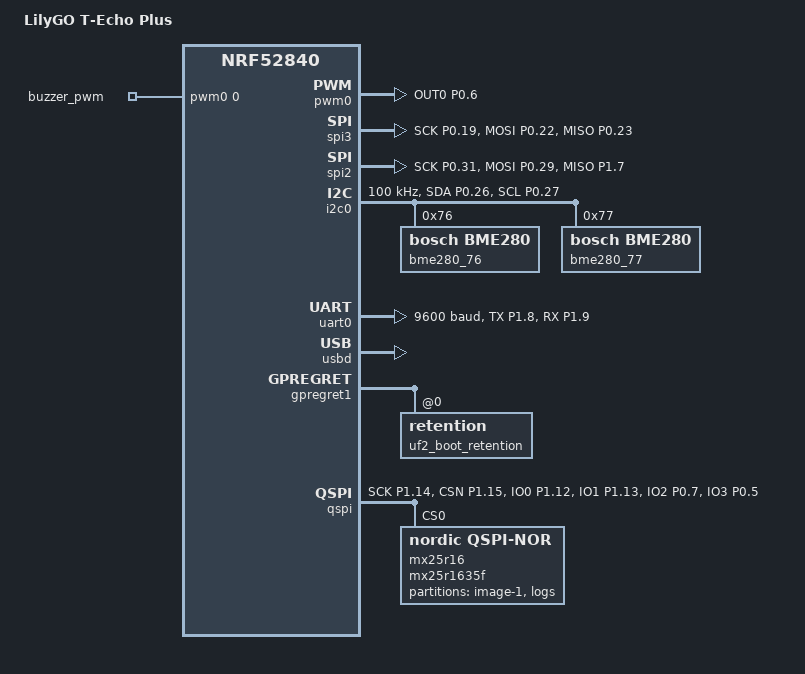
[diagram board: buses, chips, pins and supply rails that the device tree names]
/dts-v1/;
#include <nordic/nrf52840_qiaa.dtsi>
#include <zephyr/dt-bindings/gpio/gpio.h>
#include <zephyr/dt-bindings/i2c/i2c.h>

/*
 * LilyGO T-Echo (Plus) — nRF52840 + SX1262 + SSD1681 1.54" e-paper + L76K GPS.
 *
 * Pins are taken from the Meshtastic `t-echo-plus` variant (the Plus-specific
 * reference), cross-checked against published T-Echo pin maps and
 * devices/boards/techo/pins.h. Radio SPI (SCK P0.19 / MOSI P0.22 / MISO P0.23),
 * e-paper, GNSS UART, and the Plus buzzer (P0.06) / vibro-DRV_EN (P0.08) are all
 * confirmed. NOTE: the SX1262 TCXO is on DIO3 @ 1.8 V and DIO2 is the RF switch
 * — configured by the driver (sx1262.cpp begin()), not here.
 *
 * Peripheral-instance choice avoids nRF52840 EasyDMA base conflicts:
 *   radio  -> SPIM3 (0x4002F000, dedicated, high-speed)
 *   e-paper-> SPIM2 (0x40023000)
 *   flash  -> QSPI  (0x40029000, its own peripheral — no SPIM conflict)
 *   GNSS   -> UARTE0
 *   console-> USB CDC ACM (T-Echo has no dedicated debug UART; it uses USB)
 *
 * Power gating lives in board.c, NOT in the application, because MCUboot needs
 * the same rails up before it can read the secondary slot. See board.c.
 */

/ {
	model = "LilyGO T-Echo Plus";
	compatible = "lilygo,t-echo-plus";

	chosen {
		zephyr,sram = &sram0;
		zephyr,flash = &flash0;
		zephyr,code-partition = &slot0_partition;
		zephyr,console = &cdc_acm_uart0;
		zephyr,shell-uart = &cdc_acm_uart0;
	};

	aliases {
		radio-spi = &spi3;
		epd-spi = &spi2;
		gnss-uart = &uart0;
		buzzer = &buzzer_pwm;
		watchdog0 = &wdt0;
	};

	pwmleds {
		compatible = "pwm-leds";
		buzzer_pwm: buzzer_pwm {
			pwms = <&pwm0 0 PWM_HZ(2000) PWM_POLARITY_NORMAL>;
		};
	};
};

&pinctrl {
	/* Radio SPI (SX1262): SCK P0.19, MOSI P0.22, MISO P0.23. Confirmed. */
	spi3_default: spi3_default {
		group1 {
			psels = <NRF_PSEL(SPIM_SCK, 0, 19)>,
				<NRF_PSEL(SPIM_MOSI, 0, 22)>,
				<NRF_PSEL(SPIM_MISO, 0, 23)>;
		};
	};
	spi3_sleep: spi3_sleep {
		group1 {
			psels = <NRF_PSEL(SPIM_SCK, 0, 19)>,
				<NRF_PSEL(SPIM_MOSI, 0, 22)>,
				<NRF_PSEL(SPIM_MISO, 0, 23)>;
			low-power-enable;
		};
	};

	/*
	 * E-paper SPI (SSD1681): SCK P0.31, MOSI P0.29, MISO P1.07.
	 *
	 * P1.07 is a placeholder MISO — the panel is write-only. It is P1.07 and
	 * not P0.07 on purpose: P0.07 is QSPI IO2 (see qspi_default below), and
	 * Meshtastic's t-echo-plus variant.h:113 picks P1.07 for the same reason.
	 */
	spi2_default: spi2_default {
		group1 {
			psels = <NRF_PSEL(SPIM_SCK, 0, 31)>,
				<NRF_PSEL(SPIM_MOSI, 0, 29)>,
				<NRF_PSEL(SPIM_MISO, 1, 7)>;
		};
	};
	spi2_sleep: spi2_sleep {
		group1 {
			psels = <NRF_PSEL(SPIM_SCK, 0, 31)>,
				<NRF_PSEL(SPIM_MOSI, 0, 29)>,
				<NRF_PSEL(SPIM_MISO, 1, 7)>;
			low-power-enable;
		};
	};

	/*
	 * QSPI to the on-board MX25R1635F. Pins agree across three independent
	 * sources: Meshtastic t-echo-plus variant.h:70-75, nrf52-ogn-tracker
	 * variants/t_echo/variant.h:56-61, and SoftRF iomap/LilyGO_TEcho.h:88-93.
	 *   SCK P1.14  CS P1.15  IO0 P1.12  IO1 P1.13  IO2 P0.07  IO3 P0.05
	 */
	qspi_default: qspi_default {
		group1 {
			psels = <NRF_PSEL(QSPI_SCK, 1, 14)>,
				<NRF_PSEL(QSPI_CSN, 1, 15)>,
				<NRF_PSEL(QSPI_IO0, 1, 12)>,
				<NRF_PSEL(QSPI_IO1, 1, 13)>,
				<NRF_PSEL(QSPI_IO2, 0, 7)>,
				<NRF_PSEL(QSPI_IO3, 0, 5)>;
		};
	};
	qspi_sleep: qspi_sleep {
		group1 {
			psels = <NRF_PSEL(QSPI_SCK, 1, 14)>,
				<NRF_PSEL(QSPI_IO0, 1, 12)>,
				<NRF_PSEL(QSPI_IO1, 1, 13)>,
				<NRF_PSEL(QSPI_IO2, 0, 7)>,
				<NRF_PSEL(QSPI_IO3, 0, 5)>;
			low-power-enable;
		};
		group2 {
			psels = <NRF_PSEL(QSPI_CSN, 1, 15)>;
			low-power-enable;
			bias-pull-up;
		};
	};

	/* GNSS UART (L76K): nRF TX P1.08 -> GPS RX, nRF RX P1.09 <- GPS TX. Confirmed. */
	uart0_default: uart0_default {
		group1 {
			psels = <NRF_PSEL(UART_TX, 1, 8)>;
		};
		group2 {
			psels = <NRF_PSEL(UART_RX, 1, 9)>;
			bias-pull-up;
		};
	};
	uart0_sleep: uart0_sleep {
		group1 {
			psels = <NRF_PSEL(UART_TX, 1, 8)>, <NRF_PSEL(UART_RX, 1, 9)>;
			low-power-enable;
		};
	};

	/* Sensor I2C (BME280 @ 0x76): SDA P0.26, SCL P0.27. 2-DEVICES.md BOM.
	 * TWIM0 shares its peripheral ID with SPIM0/SPIS0, which this board does
	 * not use (the radio is on spi3, the panel on spi2), so i2c0 is free. */
	i2c0_default: i2c0_default {
		group1 {
			psels = <NRF_PSEL(TWIM_SDA, 0, 26)>, <NRF_PSEL(TWIM_SCL, 0, 27)>;
		};
	};
	i2c0_sleep: i2c0_sleep {
		group1 {
			psels = <NRF_PSEL(TWIM_SDA, 0, 26)>, <NRF_PSEL(TWIM_SCL, 0, 27)>;
			low-power-enable;
		};
	};

	/* Buzzer PWM on P0.06 (Meshtastic t-echo-plus PIN_BUZZER). Plus-only. */
	pwm0_default: pwm0_default {
		group1 {
			psels = <NRF_PSEL(PWM_OUT0, 0, 6)>;
		};
	};
	pwm0_sleep: pwm0_sleep {
		group1 {
			psels = <NRF_PSEL(PWM_OUT0, 0, 6)>;
			low-power-enable;
		};
	};
};

&gpio0 { status = "okay"; };
&gpio1 { status = "okay"; };
&gpiote { status = "okay"; };

&pwm0 {
	status = "okay";
	pinctrl-0 = <&pwm0_default>;
	pinctrl-1 = <&pwm0_sleep>;
	pinctrl-names = "default", "sleep";
};

&spi3 {
	compatible = "nordic,nrf-spim";
	status = "okay";
	pinctrl-0 = <&spi3_default>;
	pinctrl-1 = <&spi3_sleep>;
	pinctrl-names = "default", "sleep";
	/* CS driven manually by the SX1262 driver (io::Spi::select) on P0.24. */
	cs-gpios = <&gpio0 24 GPIO_ACTIVE_LOW>;
};

&spi2 {
	compatible = "nordic,nrf-spim";
	status = "okay";
	pinctrl-0 = <&spi2_default>;
	pinctrl-1 = <&spi2_sleep>;
	pinctrl-names = "default", "sleep";
	/* CS driven manually by the SSD1681 driver on P0.30. */
	cs-gpios = <&gpio0 30 GPIO_ACTIVE_LOW>;
};

/* Sensor I2C. Nothing on this bus is guaranteed to be fitted.
 *
 * The BME280 is "optional, selected" in our BOM, AND its address is disputed:
 * project/2-DEVICES.md says 0x76, LilyGO's own README I2C table and SoftRF's
 * platform/nRF52.h both say 0x77. Nobody has checked a unit. So BOTH are
 * declared: Zephyr's driver verifies the chip id at init, the absent one simply
 * never becomes ready, and the application takes whichever answered. Two device
 * instances cost a few hundred bytes and buy one image that boots on either
 * variant instead of silently having no barometer on half of them.
 *
 * The BHI260AP IMU is a pluggable daughter module (LilyGO ships T-BHI260 and
 * T-ICM29048 into the same 5-pin header) and has no Zephyr driver, so it is NOT
 * declared here - devices/drivers/bhi260ap.cpp probes 0x28 over io::I2c.
 */
&i2c0 {
	compatible = "nordic,nrf-twim";
	status = "okay";
	pinctrl-0 = <&i2c0_default>;
	pinctrl-1 = <&i2c0_sleep>;
	pinctrl-names = "default", "sleep";
	clock-frequency = <I2C_BITRATE_STANDARD>;

	bme280_76: bme280@76 {
		compatible = "bosch,bme280";
		reg = <0x76>;
		status = "okay";
	};

	bme280_77: bme280@77 {
		compatible = "bosch,bme280";
		reg = <0x77>;
		status = "okay";
	};
};

&uart0 {
	compatible = "nordic,nrf-uarte";
	status = "okay";
	current-speed = <9600>;
	pinctrl-0 = <&uart0_default>;
	pinctrl-1 = <&uart0_sleep>;
	pinctrl-names = "default", "sleep";
};

/* USB CDC ACM = console/log + a wired MCUmgr DFU transport.
 *
 * The `zephyr_udc0` label is REQUIRED, not decoration: the USB device next
 * stack's CDC ACM serial helper does USBD_DEVICE_DEFINE(...,
 * DEVICE_DT_GET(DT_NODELABEL(zephyr_udc0)), ...), so without this label the
 * console does not build. Same idiom as the upstream nRF52840 board files.
 */
zephyr_udc0: &usbd {
	status = "okay";
	cdc_acm_uart0: cdc_acm_uart0 {
		compatible = "zephyr,cdc-acm-uart";
	};
};

/*
 * GPREGRET is a hardware-retained byte that survives a warm reset. The factory
 * Adafruit bootloader reads it on every boot and enters USB mass-storage DFU
 * when it holds 0x57 (DFU_MAGIC_UF2_RESET, Adafruit_nRF52_Bootloader
 * src/main.cpp:109). Exposing it as a Zephyr `retention` area is how the
 * application asks to be rebooted into drag-and-drop mode without touching a
 * register directly. Same shape ZMK uses (app/dts/common/nordic/
 * nrf52840_uf2_boot_mode.dtsi).
 *
 * No `prefix` and no `checksum` on purpose: the binding defaults both off
 * (dts/bindings/retention/zephyr,retention.yaml), so a one-byte
 * retention_write() puts exactly 0x57 in the register — which is what the
 * bootloader compares against.
 */
&gpregret1 {
	uf2_boot_retention: retention@0 {
		compatible = "zephyr,retention";
		status = "okay";
		reg = <0x0 0x1>;
	};
};

/*
 * Internal 1 MB flash. The factory Adafruit UF2 bootloader owns both ends and
 * we never write either: MBR + SoftDevice below 0x26000, bootloader + MBR
 * params + settings from 0xF4000. MCUboot is chain-loaded as the "application"
 * the UF2 bootloader starts.
 *
 * The drag-and-drop write window is USER_FLASH_START..USER_FLASH_END =
 * 0x1000..0xEA000 (Adafruit_nRF52_Bootloader src/usb/uf2/uf2cfg.h:25-26 with
 * DFU_APP_DATA_RESERVED = 10*4096, Makefile:139). Everything a .uf2 must carry
 * — MCUboot and slot0 — therefore lives strictly below 0xEA000, and NVS lives
 * above it inside the 40 KB the bootloader reserves for application data.
 *
 * The secondary slot is NOT here: it is on the external QSPI part (&mx25r16
 * below), which is what buys slot0 its full 728 KB.
 */
&flash0 {
	partitions {
		compatible = "fixed-partitions";
		#address-cells = <1>;
		#size-cells = <1>;

		/* MBR (4 KB) + SoftDevice S140 6.1.1 (148 KB). Factory-programmed,
		 * never linked against, never enabled — Zephyr's own BLE controller
		 * drives the radio. Declared only so nothing can allocate over it. */
		softdevice_partition: partition@0 {
			label = "softdevice";
			read-only;
			reg = <0x00000000 0x00026000>;
		};

		boot_partition: partition@26000 {
			label = "mcuboot";
			reg = <0x00026000 0x0000E000>;
		};

		slot0_partition: partition@34000 {
			label = "image-0";
			reg = <0x00034000 0x000B6000>;
		};

		/* 0xEA000..0xEC000 is deliberately unallocated: it is above
		 * USER_FLASH_END, so a .uf2 cannot reach it, and it keeps NVS on the
		 * same 8 KB boundary upstream uses. */

		storage_partition: partition@ec000 {
			label = "storage";
			reg = <0x000EC000 0x00008000>;
		};

		/* Adafruit bootloader (40 KB) + MBR params + bootloader settings.
		 * Factory-programmed. This is the recovery path: it is in a region
		 * the application cannot write, so a bad MCUboot is a double-tap
		 * and a drag-and-drop rather than an SWD session. */
		uf2_boot_partition: partition@f4000 {
			label = "uf2-bootloader";
			read-only;
			reg = <0x000F4000 0x0000C000>;
		};
	};
};

/*
 * On-board Macronix MX25R1635F, 16 Mbit / 2 MiB, on the nRF52840 QSPI.
 *
 * Geometry and identity from Adafruit_SPIFlash flash_devices.h:216-222 (vendored
 * in oss/SoftRF-lyusupov): manufacturer 0xC2, memory type 0x28, capacity 0x15;
 * 2 MiB; 8 MHz in the default low-power mode; quad-enable via status register 1
 * bit 6, which is this binding's `quad-enable-requirements` default of "S1B6".
 *
 * Node shape follows the upstream nrf52840dk MX25R64 node.
 */
&qspi {
	status = "okay";
	pinctrl-0 = <&qspi_default>;
	pinctrl-1 = <&qspi_sleep>;
	pinctrl-names = "default", "sleep";

	mx25r16: mx25r1635f@0 {
		compatible = "nordic,qspi-nor";
		reg = <0>;
		writeoc = "pp4io";
		readoc = "read4io";
		/* Low-power mode tops out at 8 MHz; we never enter high-power mode. */
		sck-frequency = <8000000>;
		jedec-id = [c2 28 15];
		size-in-bytes = <2097152>;
		has-dpd;
		t-enter-dpd = <10000>;
		t-exit-dpd = <35000>;

		partitions {
			compatible = "fixed-partitions";
			#address-cells = <1>;
			#size-cells = <1>;

			/*
			 * Secondary slot, EXACTLY THE SAME SIZE as slot0 (182 sectors
			 * of 4 KB = 0xB6000). Not one sector larger, even though
			 * mcuboot docs/design.md:296-299 calls that the most
			 * memory-efficient swap-using-offset layout.
			 *
			 * Zephyr derives imgtool's --slot-size from slot1, not slot0 -
			 * "Slot 1 size is used instead of slot 0 size"
			 * (zephyr/cmake/mcuboot.cmake:96-102). So --pad --confirm pads
			 * the image to slot1's length, and that padded image is what
			 * gets written straight into slot0 by the .uf2. Make slot1
			 * bigger and the trailer lands one sector past the end of
			 * slot0, above USER_FLASH_END, where the UF2 bootloader
			 * silently drops it. scripts/mkuf2.py caught exactly that.
			 *
			 * design.md:299 permits equal slots. The first sector of the
			 * secondary is still reserved for sector movement, so the
			 * usable image size is unchanged either way.
			 *
			 * Both slots must have the same sector size for this mode:
			 * nRF52840 page = 4096 B, MX25R sector = 4096 B.
			 */
			slot1_partition: partition@0 {
				label = "image-1";
				reg = <0x00000000 0x000B6000>;
			};

			/* ~1.29 MB left for flight logging. */
			log_partition: partition@b6000 {
				label = "logs";
				reg = <0x000B6000 0x0014A000>;
			};
		};
	};
};
